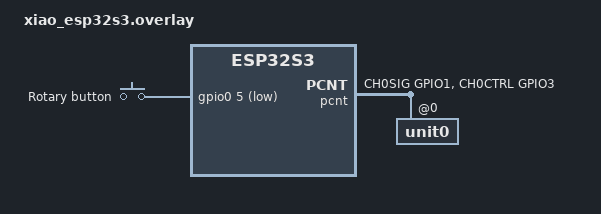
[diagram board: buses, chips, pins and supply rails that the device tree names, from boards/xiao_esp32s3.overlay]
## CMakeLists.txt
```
# SPDX-License-Identifier: Apache-2.0

cmake_minimum_required(VERSION 3.20.0)

find_package(Zephyr REQUIRED HINTS $ENV{ZEPHYR_BASE})
project(esp32Remote)

target_sources(app PRIVATE src/main.c)
```

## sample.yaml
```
sample:
  name: esp32 Touch
tests:
  sample.board.esp32.touch:
    platform_allow: xiao_esp32s3/esp32s3/procpu
    tags:
      - esp32
      - touch
      - input
```

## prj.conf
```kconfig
CONFIG_INPUT=y
CONFIG_SENSOR=y

#PCNT
CONFIG_PCNT_ESP32=y
CONFIG_PCNT_ESP32_TRIGGER=y

# Button
CONFIG_GPIO=y

# CONFIG_NETWORKING=y
# CONFIG_MQTT_LIB=y

CONFIG_LOG=y
CONFIG_PRINTK=y
```

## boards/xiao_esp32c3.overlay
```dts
/{
aliases {
  	led0 = &myled0;
};

leds {
	status = "okay";
	compatible = "gpio-leds";
	myled0: led_0 {
		gpios = <&gpio0 13 GPIO_ACTIVE_HIGH>;
	};
};

};

// ESP32C3 doesn't have the PCNT peripheral
```

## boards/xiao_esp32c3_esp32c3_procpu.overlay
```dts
/home/projects/esp32_pcnt/boards/xiao_esp32c3.overlay
```

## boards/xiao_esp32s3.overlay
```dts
#include <zephyr/dt-bindings/input/input-event-codes.h>

/ {
  aliases {
    pcnt0 = &pcnt;
    sw0 = &button0;
  };

  buttons {
    compatible = "gpio-keys";
    button0: button_0 {
      gpios = <&gpio0 5 GPIO_ACTIVE_LOW>;     // Button is pulled up internally
      zephyr,code = <INPUT_KEY_0>;
      label = "Rotary button";
    };
  };
};

&pinctrl {
	pcnt_default: pcnt_default {
		group1 {
			pinmux = <PCNT0_CH0SIG_GPIO1>,
					     <PCNT0_CH0CTRL_GPIO3>;
			// bias-pull-up;                      // This encoder pulled up internally
		};
	};
};

&pcnt {
    pinctrl-0 = <&pcnt_default>;
    pinctrl-names = "default";
    status = "okay";
    #address-cells = <1>;
    #size-cells = <0>;
    unit0@0 {
      reg = <0>;
      #address-cells = <1>;
      #size-cells = <0>;
      filter = <100>;
      channelA@0 {
          reg = <0>;
          sig-pos-mode = <2>;
          sig-neg-mode = <1>;
          ctrl-h-mode = <0>;
          ctrl-l-mode = <1>;
      };
    };
};
```

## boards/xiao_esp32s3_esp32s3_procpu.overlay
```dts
/home/projects/esp32_pcnt/boards/xiao_esp32s3.overlay
```

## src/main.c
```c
/*
 * Copyright (c) 2024 Owen O'Hehir
 *
 * SPDX-License-Identifier: Apache-2.0
 */

#include <stdio.h>
#include <zephyr/drivers/gpio.h>
#include <zephyr/drivers/sensor.h>
#include <zephyr/input/input.h>
#include <zephyr/kernel.h>
#include <zephyr/logging/log.h>

LOG_MODULE_REGISTER(main, LOG_LEVEL_DBG);

#define SLEEP_TIME_MS 250

#define LED0_NODE DT_ALIAS(led0)
#if !DT_NODE_HAS_STATUS(LED0_NODE, okay)
#error "Unsupported board: led0 devicetree alias is not defined"
#endif

#define SW0_NODE DT_ALIAS(sw0)
#if !DT_NODE_HAS_STATUS(SW0_NODE, okay)
#error "Unsupported board: sw0 devicetree alias is not defined"
#endif

#ifndef CONFIG_SOC_SERIES_ESP32S3
#error "Unsupported SoC series"
#endif

#ifndef CONFIG_PCNT_ESP32
#error "CONFIG_PCNT_ESP32 not set"
#endif

#ifdef CONFIG_SOC_SERIES_ESP32C3
#error "Unsupported SoC series"
#endif

static const struct gpio_dt_spec led = GPIO_DT_SPEC_GET(LED0_NODE, gpios);
static const struct gpio_dt_spec button =
    GPIO_DT_SPEC_GET_OR(SW0_NODE, gpios, {0});
static struct gpio_callback button_cb_data;

static const struct device *get_pcnt_device(void) {
  const struct device *const dev = DEVICE_DT_GET_ANY(espressif_esp32_pcnt);

  if (dev == NULL) {
    printf("\nError: no device found.\n");
    return NULL;
  }

  if (!device_is_ready(dev)) {
    printf("\nError: Device \"%s\" is not ready; "
           "check the driver initialization logs for errors.\n",
           dev->name);
    return NULL;
  }

  printf("Found device \"%s\", getting sensor data\n", dev->name);

  return dev;
}

void button_pressed(const struct device *dev, struct gpio_callback *cb,
                    uint32_t pins) {
  printf("Button pressed at %" PRIu32 "\n", k_cycle_get_32());
}

int main(void) {
  k_msleep(SLEEP_TIME_MS);

  printf("Startup of board: %s\n", CONFIG_BOARD);

  if (!gpio_is_ready_dt(&led)) {
    printf("GPIO not ready to for LED at %s pin %d\n", led.port->name, led.pin);
    return 0;
  }

  int ret = gpio_pin_configure_dt(&led, GPIO_OUTPUT_ACTIVE);
  if (ret < 0) {
    printf("Failed to configure LED at %s pin %d\n", led.port->name, led.pin);
    return 0;
  }

  gpio_pin_set_dt(&led, 0);

  if (!gpio_is_ready_dt(&button)) {
    printf("Error: button device %s is not ready\n", button.port->name);
    return 0;
  }

  ret = gpio_pin_configure_dt(&button, GPIO_INPUT);
  if (ret != 0) {
    printf("Error %d: failed to configure %s pin %d\n", ret, button.port->name,
           button.pin);
    return 0;
  }

  ret = gpio_pin_interrupt_configure_dt(&button, GPIO_INT_EDGE_TO_ACTIVE);
  if (ret != 0) {
    printf("Error %d: failed to configure interrupt on %s pin %d\n", ret,
           button.port->name, button.pin);
    return 0;
  }

  gpio_init_callback(&button_cb_data, button_pressed, BIT(button.pin));
  gpio_add_callback(button.port, &button_cb_data);
  printf("Set up button at %s pin %d\n", button.port->name, button.pin);

  const struct device *dev = get_pcnt_device();

  if (dev == NULL) {
    printf("Failed to get PCNT device\n");
    return 0;
  }

  int old_result = 0;

  while (1) {
    struct sensor_value rotation = {0};

    int rc = sensor_sample_fetch(dev);
    if (rc != 0) {
      printf("Failed to fetch sample (%d)\n", rc);
      return 0;
    }

    rc = sensor_channel_get(dev, SENSOR_CHAN_ROTATION, &rotation);
    if (rc != 0) {
      printf("Failed to get data (%d)\n", rc);
      return 0;
    }

    if (rotation.val1 != old_result) {
      gpio_pin_toggle_dt(&led);
      old_result = rotation.val1;
      printf("Rotation: %d\n", rotation.val1);
    }
  }
  return 0;
}
```
